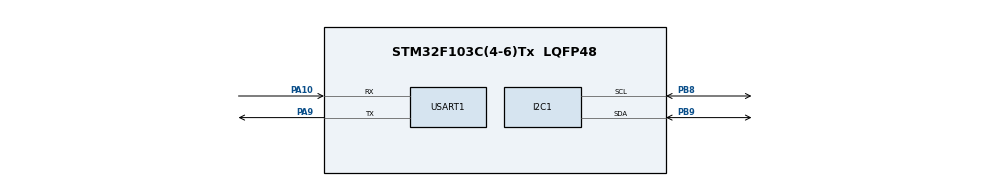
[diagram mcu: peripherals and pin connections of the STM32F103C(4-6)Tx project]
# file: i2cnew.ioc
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Mcu.Family=STM32F1
Mcu.Name=STM32F103C(4-6)Tx
Mcu.Package=LQFP48
NVIC.PriorityGroup=NVIC_PRIORITYGROUP_4
PA10.Mode=Asynchronous
PA10.Signal=USART1_RX
PA13.Mode=Serial_Wire
PA13.Signal=SYS_JTMS-SWDIO
PA14.Mode=Serial_Wire
PA14.Signal=SYS_JTCK-SWCLK
PA9.Mode=Asynchronous
PA9.Signal=USART1_TX
PB8.Mode=I2C
PB8.Signal=I2C1_SCL
PB9.Mode=I2C
PB9.Signal=I2C1_SDA
PD0-OSC_IN.Mode=HSE-External-Oscillator
PD0-OSC_IN.Signal=RCC_OSC_IN
PD1-OSC_OUT.Mode=HSE-External-Oscillator
PD1-OSC_OUT.Signal=RCC_OSC_OUT
ProjectManager.HeapSize=0x200
ProjectManager.StackSize=0x400
ProjectManager.TargetToolchain=STM32CubeIDE
RCC.APB1Freq_Value=8000000
RCC.APB2Freq_Value=8000000
USART1.VirtualMode=VM_ASYNC
board=custom

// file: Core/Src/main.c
/* USER CODE BEGIN Header */
/**
  ******************************************************************************
  * @file           : main.c
  * @brief          : Main program body
  ******************************************************************************
  * @attention
  *
  * Copyright (c) 2025 STMicroelectronics.
  * All rights reserved.
  *
  * This software is licensed under terms that can be found in the LICENSE file
  * in the root directory of this software component.
  * If no LICENSE file comes with this software, it is provided AS-IS.
  *
  ******************************************************************************
  */
/* USER CODE END Header */
#include "main.h"

/* USER CODE BEGIN Includes */

#include "stm32f1xx_hal.h"
#include <stdio.h>
#include "stdlib.h"
#include "math.h"

/* USER CODE END Includes */

/* USER CODE BEGIN PTD */
// Структура для калибровочных данных
typedef struct {
    uint16_t dig_T1;
    int16_t  dig_T2;
    int16_t  dig_T3;
    uint16_t dig_P1;
    int16_t  dig_P2;
    int16_t  dig_P3;
    int16_t  dig_P4;
    int16_t  dig_P5;
    int16_t  dig_P6;
    int16_t  dig_P7;
    int16_t  dig_P8;
    int16_t  dig_P9;
} BMP280_CalibData;

BMP280_CalibData calib_data;

/* USER CODE END PTD */

/* USER CODE BEGIN PD */
// Регистры BMP280
#define BMP280_I2C_ADDRESS     0x76 << 1
#define BMP280_REG_TEMP_XLSB   0xFC
#define BMP280_REG_TEMP_LSB    0xFB
#define BMP280_REG_TEMP_MSB    0xFA
#define BMP280_REG_PRESS_XLSB  0xF9
#define BMP280_REG_PRESS_LSB   0xF8
#define BMP280_REG_PRESS_MSB   0xF7
#define BMP280_REG_CONFIG      0xF5
#define BMP280_REG_CTRL_MEAS   0xF4
#define BMP280_REG_STATUS      0xF3
#define BMP280_REG_RESET       0xE0
#define BMP280_REG_ID          0xD0
#define BMP280_REG_CALIB       0x88

/* USER CODE END PD */

I2C_HandleTypeDef hi2c1;
UART_HandleTypeDef huart1;
float temperature =0;
float pressure =0;
uint8_t mst, lst, xlst;
uint8_t msp, lsp, xlsp;
int32_t  adc_T, adc_P;

void SystemClock_Config(void);
static void MX_GPIO_Init(void);
static void MX_I2C1_Init(void);
static void MX_USART1_UART_Init(void);

/* USER CODE BEGIN 0 */
// Функция для чтения калибровочных данных
void BMP280_ReadCalibrationData(void) {
    uint8_t data[24];
    HAL_I2C_Mem_Read(&hi2c1, BMP280_I2C_ADDRESS, BMP280_REG_CALIB, 1, data, 24, 100);

    calib_data.dig_T1 = (data[1] << 8) | data[0];
    calib_data.dig_T2 = (data[3] << 8) | data[2];
    calib_data.dig_T3 = (data[5] << 8) | data[4];
    calib_data.dig_P1 = (data[7] << 8) | data[6];
    calib_data.dig_P2 = (data[9] << 8) | data[8];
    calib_data.dig_P3 = (data[11] << 8) | data[10];
    calib_data.dig_P4 = (data[13] << 8) | data[12];
    calib_data.dig_P5 = (data[15] << 8) | data[14];
    calib_data.dig_P6 = (data[17] << 8) | data[16];
    calib_data.dig_P7 = (data[19] << 8) | data[18];
    calib_data.dig_P8 = (data[21] << 8) | data[20];
    calib_data.dig_P9 = (data[23] << 8) | data[22];
}

// Функция для чтения температуры
float BMP280_ReadTemperature(void) {

    HAL_I2C_Mem_Read(&hi2c1, BMP280_I2C_ADDRESS, BMP280_REG_TEMP_MSB, 1, &mst, 1, 100);
    HAL_I2C_Mem_Read(&hi2c1, BMP280_I2C_ADDRESS, BMP280_REG_TEMP_LSB, 1, &lst, 1, 100);
    HAL_I2C_Mem_Read(&hi2c1, BMP280_I2C_ADDRESS, BMP280_REG_TEMP_XLSB, 1, &xlst, 1, 100);
    adc_T = ((uint32_t)mst << 12) | ((uint32_t)lst << 4) | ((uint32_t)xlst >> 4);

    int32_t var1, var2, T;
    var1 = ((((adc_T >> 3) - ((int32_t)calib_data.dig_T1 << 1))) * ((int32_t)calib_data.dig_T2) >> 11);
    var2 = (((((adc_T >> 4) - ((int32_t)calib_data.dig_T1)) * ((adc_T >> 4) - ((int32_t)calib_data.dig_T1))) >> 12) * ((int32_t)calib_data.dig_T3)) >> 14;
    int32_t t_fine = var1 + var2;
    T = (t_fine * 5 + 128) >> 8;

    return (float)T / 100.0f; // данные в гр С
}

// Функция для чтения давления
float BMP280_ReadPressure(void) {

    HAL_I2C_Mem_Read(&hi2c1, BMP280_I2C_ADDRESS, BMP280_REG_PRESS_MSB, 1, &msp, 1, 100);
    HAL_I2C_Mem_Read(&hi2c1, BMP280_I2C_ADDRESS, BMP280_REG_PRESS_LSB, 1,&lsp, 1, 100);
    HAL_I2C_Mem_Read(&hi2c1, BMP280_I2C_ADDRESS, BMP280_REG_PRESS_XLSB, 1, &xlsp, 1, 100);

    adc_P = ((uint32_t)msp << 12) | ((uint32_t)lsp << 4) | ((int32_t)xlsp >> 4 );

    int64_t var1, var2, p;
    int32_t t_fine = BMP280_ReadTemperature() * 100; // Получаем t_fine из температуры
    var1 = ((int64_t)t_fine) - 128000;
    var2 = var1 * var1 * (int64_t)calib_data.dig_P6;
    var2 = var2 + ((var1 * (int64_t)calib_data.dig_P5) << 17);
    var2 = var2 + (((int64_t)calib_data.dig_P4) << 35);
    var1 = ((var1 * var1 * (int64_t)calib_data.dig_P3) >> 8) + ((var1 * (int64_t)calib_data.dig_P2) << 12);
    var1 = (((((int64_t)1) << 47) + var1)) * ((int64_t)calib_data.dig_P1) >> 33;
    if (var1 == 0) {
        return 0; // Избегаем деления на 0
    }
    p = 1048576 - adc_P;
    p = (((p << 31) - var2) * 3125) / var1;
    var1 = (((int64_t)calib_data.dig_P9) * (p >> 13) * (p >> 13)) >> 25;
    var2 = (((int64_t)calib_data.dig_P8) * p) >> 19;
    p = ((p + var1 + var2) >> 8) + (((int64_t)calib_data.dig_P7) << 4);

    return (float)p / 34133.33f; //данные в мм рт ст
}

/* USER CODE END 0 */

int main(void)
{

  /* MCU Configuration--------------------------------------------------------*/

  /* Reset of all peripherals, Initializes the Flash interface and the Systick. */
  HAL_Init();

  /* Configure the system clock */
  SystemClock_Config();

  /* Initialize all configured peripherals */
  MX_GPIO_Init();
  MX_I2C1_Init();
  MX_USART1_UART_Init();
  /* USER CODE BEGIN 2 */
 // BeginWork();
  BMP280_ReadCalibrationData();
  /* USER CODE END 2 */

  /* Infinite loop */
  /* USER CODE BEGIN WHILE */
  while (1)
  {
	  // Установка режима: давление ×16, температура ×2, нормальный режим
	    uint8_t ctrl_meas = (0x03 << 5) | (0x01 << 2) | 0x03; // osrs_p=3, osrs_t=1, mode=3
	  	HAL_I2C_Mem_Write(&hi2c1, BMP280_I2C_ADDRESS, BMP280_REG_CTRL_MEAS, I2C_MEMADD_SIZE_8BIT, &ctrl_meas, 1, 300);

	    temperature = BMP280_ReadTemperature();
	    pressure = BMP280_ReadPressure();

	    char buffer[48];
	    sprintf(buffer, " Temperature C  -  %.2f",temperature);
	    sprintf((buffer+23), "  Pressure mmpt  -  %.2f ", pressure );

	    HAL_UART_Transmit(&huart1, (uint8_t*)"\033[2J\033[H", 8, 100); // очистка экрана
	    HAL_UART_Transmit(&huart1, (uint8_t*)buffer, sizeof(buffer), 100);
	    HAL_Delay(1000);

    /* USER CODE END WHILE */

  }
}

void SystemClock_Config(void)
{
  RCC_OscInitTypeDef RCC_OscInitStruct = {0};
  RCC_ClkInitTypeDef RCC_ClkInitStruct = {0};

  /** Initializes the RCC Oscillators according to the specified parameters
  * in the RCC_OscInitTypeDef structure.
  */
  RCC_OscInitStruct.OscillatorType = RCC_OSCILLATORTYPE_HSI;
  RCC_OscInitStruct.HSIState = RCC_HSI_ON;
  RCC_OscInitStruct.HSICalibrationValue = RCC_HSICALIBRATION_DEFAULT;
  RCC_OscInitStruct.PLL.PLLState = RCC_PLL_NONE;
  if (HAL_RCC_OscConfig(&RCC_OscInitStruct) != HAL_OK)
  {
    Error_Handler();
  }

  /** Initializes the CPU, AHB and APB buses clocks
  */
  RCC_ClkInitStruct.ClockType = RCC_CLOCKTYPE_HCLK|RCC_CLOCKTYPE_SYSCLK
                              |RCC_CLOCKTYPE_PCLK1|RCC_CLOCKTYPE_PCLK2;
  RCC_ClkInitStruct.SYSCLKSource = RCC_SYSCLKSOURCE_HSI;
  RCC_ClkInitStruct.AHBCLKDivider = RCC_SYSCLK_DIV1;
  RCC_ClkInitStruct.APB1CLKDivider = RCC_HCLK_DIV1;
  RCC_ClkInitStruct.APB2CLKDivider = RCC_HCLK_DIV1;

  if (HAL_RCC_ClockConfig(&RCC_ClkInitStruct, FLASH_LATENCY_0) != HAL_OK)
  {
    Error_Handler();
  }
}

static void MX_I2C1_Init(void)
{

  hi2c1.Instance = I2C1;
  hi2c1.Init.ClockSpeed = 100000;
  hi2c1.Init.DutyCycle = I2C_DUTYCYCLE_2;
  hi2c1.Init.OwnAddress1 = 0;
  hi2c1.Init.AddressingMode = I2C_ADDRESSINGMODE_7BIT;
  hi2c1.Init.DualAddressMode = I2C_DUALADDRESS_DISABLE;
  hi2c1.Init.OwnAddress2 = 0;
  hi2c1.Init.GeneralCallMode = I2C_GENERALCALL_DISABLE;
  hi2c1.Init.NoStretchMode = I2C_NOSTRETCH_DISABLE;
  if (HAL_I2C_Init(&hi2c1) != HAL_OK)
  {
    Error_Handler();
  }

}

static void MX_USART1_UART_Init(void)
{

  huart1.Instance = USART1;
  huart1.Init.BaudRate = 115200;
  huart1.Init.WordLength = UART_WORDLENGTH_8B;
  huart1.Init.StopBits = UART_STOPBITS_1;
  huart1.Init.Parity = UART_PARITY_NONE;
  huart1.Init.Mode = UART_MODE_TX_RX;
  huart1.Init.HwFlowCtl = UART_HWCONTROL_NONE;
  huart1.Init.OverSampling = UART_OVERSAMPLING_16;
  if (HAL_UART_Init(&huart1) != HAL_OK)
  {
    Error_Handler();
  }

}

static void MX_GPIO_Init(void)
{

  /* GPIO Ports Clock Enable */
  __HAL_RCC_GPIOD_CLK_ENABLE();
  __HAL_RCC_GPIOA_CLK_ENABLE();
  __HAL_RCC_GPIOB_CLK_ENABLE();

}

void Error_Handler(void)
{
  __disable_irq();
  while (1)
  {
  }
}
